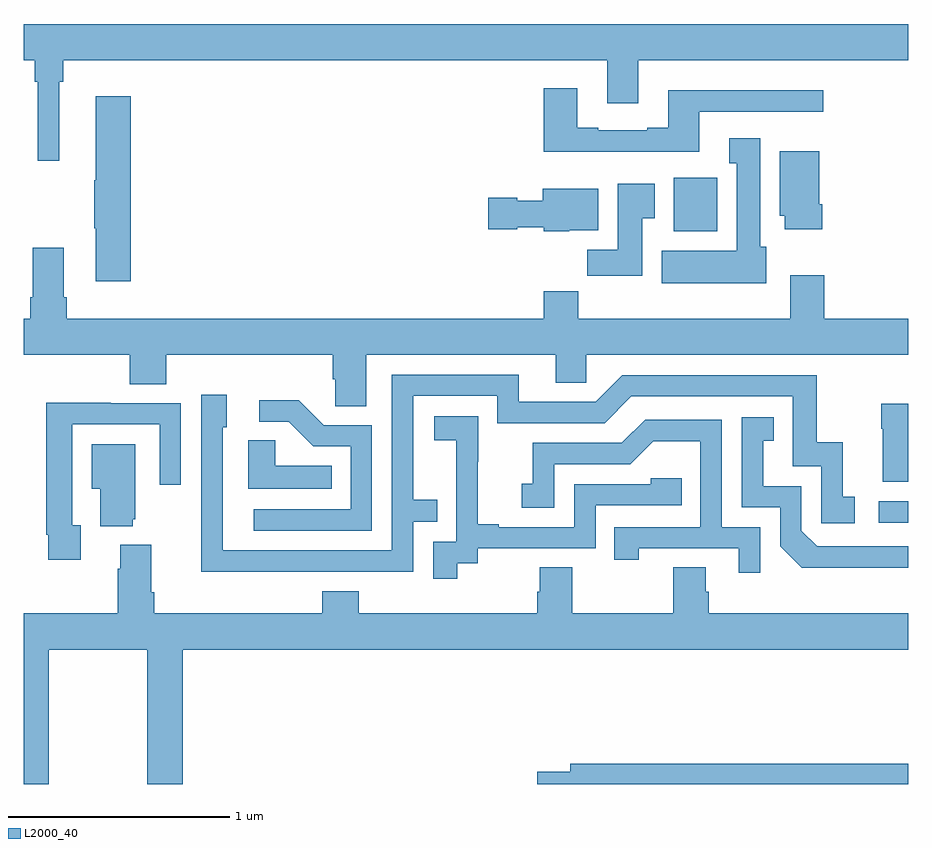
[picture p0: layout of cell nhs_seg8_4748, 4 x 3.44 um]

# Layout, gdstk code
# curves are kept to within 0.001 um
import gdstk
lib = gdstk.Library(unit=1e-6, precision=1e-09)
def R(c, l, rs):  # rectangles x0, y0, x1, y1
    for r in rs: c.add(gdstk.rectangle(r[:2], r[2:], *l))
def P(c, l, *ps):  # polygons
    for p in ps: c.add(gdstk.Polygon(p, *l))
L2000_40 = (2000, 40)

nhs_seg8_4748 = lib.new_cell('nhs_seg8_4748')
R(nhs_seg8_4748, L2000_40, [(402.867,1109.082,403,1109.178), (401.939,1110.398,402.136,1110.64)])
P(nhs_seg8_4748, L2000_40, [(399.16,1111.076),(399.179,1111.076),(399.179,1111.172),(401.639,1111.172),(401.639,1110.978),(401.779,1110.978),(401.779,1111.172),(403,1111.172),(403,1111.336),(399,1111.336),(399,1111.172),(399.05,1111.172),(399.05,1111.076),(399.063,1111.076),(399.063,1110.717),(399.16,1110.717)],
  [(402.055,1110.939),(402.616,1110.939),(402.616,1111.036),(401.915,1111.036),(401.915,1110.868),(401.819,1110.868),(401.819,1110.855),(401.599,1110.855),(401.599,1110.868),(401.503,1110.868),(401.503,1111.045),(401.351,1111.045),(401.351,1110.758),(402.055,1110.758)],
  [(399.485,1111.009),(399.326,1111.009),(399.326,1110.629),(399.319,1110.629),(399.319,1110.412),(399.326,1110.412),(399.326,1110.174),(399.485,1110.174)],
  [(402.358,1110.33),(402.331,1110.33),(402.331,1110.82),(402.191,1110.82),(402.191,1110.707),(402.224,1110.707),(402.224,1110.31),(401.885,1110.31),(401.885,1110.164),(402.358,1110.164)],
  [(402.611,1110.52),(402.598,1110.52),(402.598,1110.76),(402.419,1110.76),(402.419,1110.468),(402.44,1110.468),(402.44,1110.408),(402.611,1110.408)],
  [(401.797,1110.457),(401.854,1110.457),(401.854,1110.613),(401.687,1110.613),(401.687,1110.316),(401.548,1110.316),(401.548,1110.198),(401.797,1110.198)],
  [(401.466,1110.404),(401.599,1110.404),(401.599,1110.592),(401.348,1110.592),(401.348,1110.538),(401.232,1110.538),(401.232,1110.551),(401.1,1110.551),(401.1,1110.409),(401.232,1110.409),(401.232,1110.416),(401.352,1110.416),(401.352,1110.398),(401.466,1110.398)],
  [(400.549,1109.84),(401.405,1109.84),(401.405,1109.713),(401.544,1109.713),(401.544,1109.84),(403,1109.84),(403,1110.004),(402.62,1110.004),(402.62,1110.199),(402.467,1110.199),(402.467,1110.004),(401.507,1110.004),(401.507,1110.128),(401.351,1110.128),(401.351,1110.004),(399.194,1110.004),(399.194,1110.1),(399.181,1110.1),(399.181,1110.325),(399.041,1110.325),(399.041,1110.1),(399.029,1110.1),(399.029,1110.004),(399,1110.004),(399,1109.84),(399.479,1109.84),(399.479,1109.707),(399.644,1109.707),(399.644,1109.84),(400.397,1109.84),(400.397,1109.731),(400.41,1109.731),(400.41,1109.608),(400.549,1109.608)],
  [(400.265,1108.86),(400.761,1108.86),(400.761,1109.085),(400.871,1109.085),(400.871,1109.186),(400.761,1109.186),(400.761,1109.655),(401.142,1109.655),(401.142,1109.532),(401.628,1109.532),(401.748,1109.652),(402.477,1109.652),(402.477,1109.337),(402.606,1109.337),(402.606,1109.079),(402.757,1109.079),(402.757,1109.199),(402.704,1109.199),(402.704,1109.446),(402.586,1109.446),(402.586,1109.748),(401.706,1109.748),(401.586,1109.628),(401.239,1109.628),(401.239,1109.751),(400.665,1109.751),(400.665,1108.956),(399.9,1108.956),(399.9,1109.514),(399.919,1109.514),(399.919,1109.659),(399.804,1109.659),(399.804,1109.165),(399.802,1109.165),(399.802,1108.859)],
  [(400.575,1109.523),(400.356,1109.523),(400.243,1109.636),(400.065,1109.636),(400.065,1109.538),(400.199,1109.538),(400.31,1109.427),(400.479,1109.427),(400.479,1109.142),(400.041,1109.142),(400.041,1109.046),(400.575,1109.046)],
  [(399.259,1109.07),(399.219,1109.07),(399.219,1109.526),(399.615,1109.526),(399.615,1109.253),(399.711,1109.253),(399.711,1109.622),(399.395,1109.622),(399.395,1109.624),(399.103,1109.624),(399.103,1109.026),(399.111,1109.026),(399.111,1108.914),(399.259,1108.914)],
  [(403,1109.62),(402.877,1109.62),(402.877,1109.507),(402.884,1109.507),(402.884,1109.267),(403,1109.267)],
  [(400.96,1108.897),(401.052,1108.897),(401.052,1108.965),(401.586,1108.965),(401.586,1109.16),(401.975,1109.16),(401.975,1109.283),(401.835,1109.283),(401.835,1109.256),(401.49,1109.256),(401.49,1109.061),(401.149,1109.061),(401.149,1109.074),(401.054,1109.074),(401.054,1109.357),(401.055,1109.357),(401.055,1109.563),(400.857,1109.563),(400.857,1109.453),(400.955,1109.453),(400.955,1109.225),(400.956,1109.225),(400.956,1108.995),(400.851,1108.995),(400.851,1108.827),(400.96,1108.827)],
  [(402.926,1108.878),(403,1108.878),(403,1108.974),(402.588,1108.974),(402.516,1109.046),(402.516,1109.247),(402.343,1109.247),(402.343,1109.451),(402.392,1109.451),(402.392,1109.557),(402.246,1109.557),(402.246,1109.151),(402.42,1109.151),(402.42,1108.974),(402.518,1108.877)],
  [(402.33,1109.061),(402.156,1109.061),(402.156,1109.547),(401.81,1109.547),(401.705,1109.442),(401.302,1109.442),(401.302,1109.257),(401.253,1109.257),(401.253,1109.148),(401.4,1109.148),(401.4,1109.346),(401.742,1109.346),(401.846,1109.45),(402.06,1109.45),(402.06,1109.061),(401.671,1109.061),(401.671,1108.914),(401.782,1108.914),(401.782,1108.965),(402.233,1108.965),(402.233,1108.854),(402.33,1108.854)],
  [(400.394,1109.338),(400.137,1109.338),(400.137,1109.453),(400.016,1109.453),(400.016,1109.234),(400.394,1109.234)],
  [(399.494,1109.097),(399.505,1109.097),(399.505,1109.437),(399.308,1109.437),(399.308,1109.234),(399.347,1109.234),(399.347,1109.066),(399.494,1109.066)],
  [(399.559,1107.9),(399.719,1107.9),(399.719,1108.508),(403,1108.508),(403,1108.672),(402.098,1108.672),(402.098,1108.77),(402.085,1108.77),(402.085,1108.88),(401.938,1108.88),(401.938,1108.672),(401.481,1108.672),(401.481,1108.88),(401.333,1108.88),(401.333,1108.77),(401.321,1108.77),(401.321,1108.672),(400.514,1108.672),(400.514,1108.771),(400.349,1108.771),(400.349,1108.672),(399.59,1108.672),(399.59,1108.768),(399.577,1108.768),(399.577,1108.981),(399.437,1108.981),(399.437,1108.874),(399.425,1108.874),(399.425,1108.672),(399,1108.672),(399,1107.9),(399.114,1107.9),(399.114,1108.508),(399.559,1108.508)],
  [(403,1107.992),(401.471,1107.992),(401.471,1107.956),(401.322,1107.956),(401.322,1107.9),(403,1107.9)])

lib.write_gds('nhs_seg8_4748.gds')
